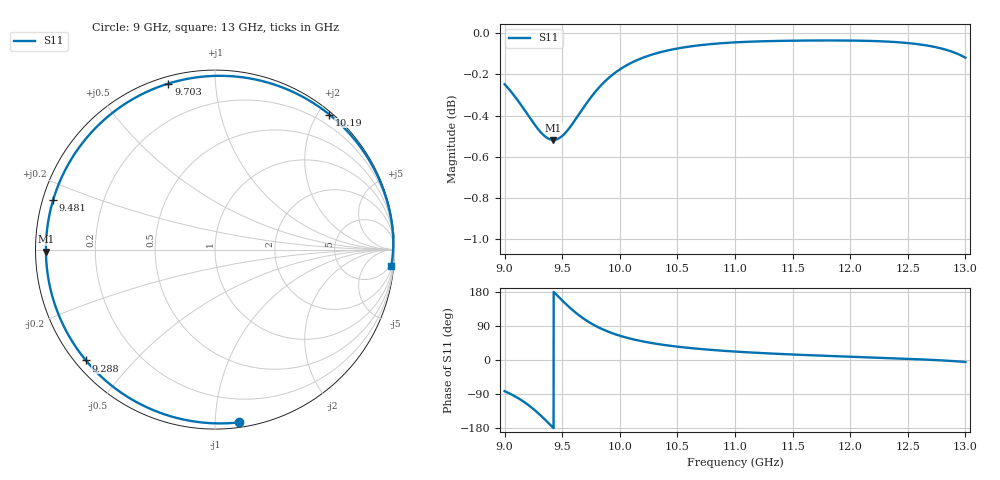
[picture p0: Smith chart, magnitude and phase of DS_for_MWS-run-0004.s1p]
! TOUCHSTONE file generated by CST DESIGN STUDIO
! Date and time: Tue Feb  4 17:12:47 2025
! Project name: C:\Work\MatlabApps\UnitCellOptimizationMatlab\CST\unitcell.cst
! Tree item: Tasks\Sweep1\SPara1\S-Parameters
! Header version: 2024
! Port assignment regex: !\s*Touchstone port\s*([0-9]+)\s*=\s*(CST MWS port|CST DES external port|CST DES block port)\s*(.+)\s* \(\"(.*)\"\)(\s*mode\s*([0-9]+))?.*
! Touchstone port assignment:
! Touchstone port 1 = CST DES external port 1 ("")
# GHz S MA R 50
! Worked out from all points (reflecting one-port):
!   4001 points, 9 GHz to 13 GHz, reference 50 ohm
!   lowest |S11| = -0.5 dB at 9.423 GHz (marker M1), VSWR 33.52, Z = 1.49 - j0.306 ohm
!   phase of S11 starts at -82 deg and turns -283 deg over the sweep
!   S11 on the Smith chart (normalised r, x): 9 GHz: 0.03, -1.15; 9.288 GHz: 0.03, -0.37; 9.481 GHz: 0.03, +0.15; 9.703 GHz: 0.03, +0.76; 10.19 GHz: 0.04, +2.16; 13 GHz: 3, -22
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9  0.9719 -82.2
9.025  0.9701 -85.7
9.089  0.9652 -95.7
9.161  0.959 -109.1
9.226  0.9532 -123.5
9.288  0.948 -139.4
9.36  0.9435 -160.0
9.423  0.9421 -179.3
9.481  0.9432 162.8
9.5  0.9441 157.1
9.551  0.9474 142.3
9.6  0.9515 129.2
9.65  0.9561 117.0
9.703  0.9609 105.6
9.769  0.9664 93.4
9.848  0.972 81.4
9.922  0.9763 72.1
10  0.9799 64.1
10.089  0.9832 56.6
10.189  0.9861 49.7
10.331  0.9891 42.1
10.5  0.9915 35.2
10.723  0.9935 28.4
11  0.9949 22.3
11.5  0.9958 14.5
12  0.9959 8.7
12.5  0.9945 3.1
13  0.9864 -5.2
